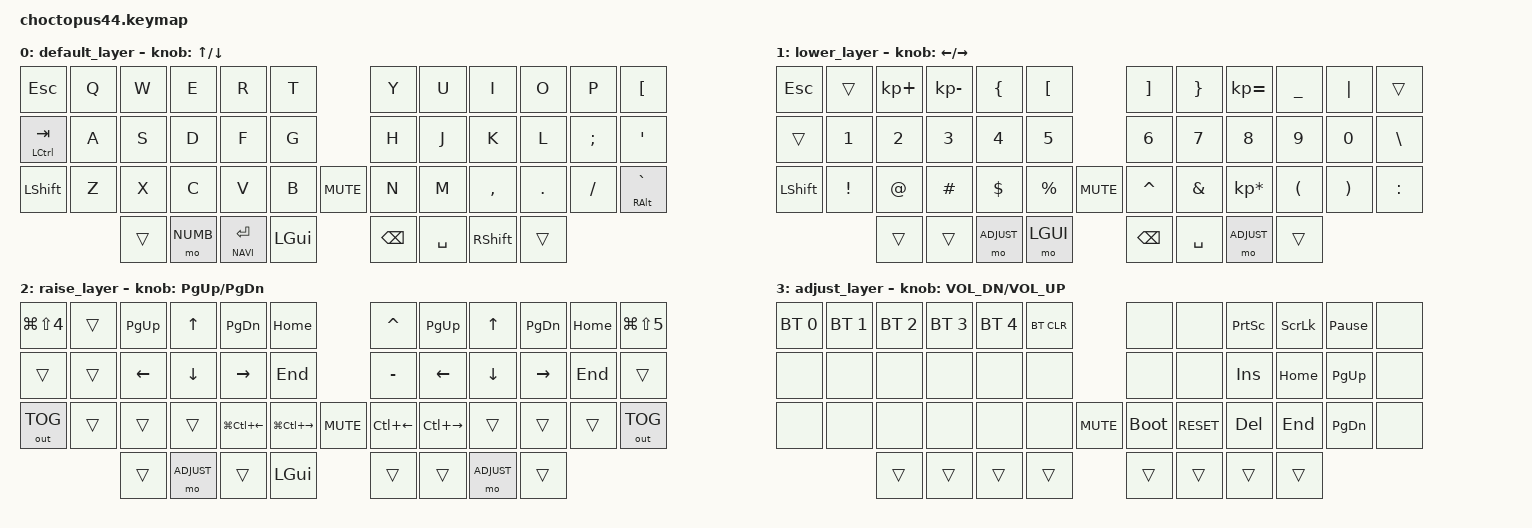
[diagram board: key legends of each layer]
/*
 * Copyright (c) 2021 The ZMK Contributors
 *
 * SPDX-License-Identifier: MIT
 */

#include <behaviors.dtsi>
#include <dt-bindings/zmk/keys.h>
#include <dt-bindings/zmk/bt.h>
#include <dt-bindings/zmk/ext_power.h>
#include <dt-bindings/zmk/outputs.h>


#define QWERTY 0
#define NUMB 1
#define NAVI 2
#define ADJUST 3

&lt { quick_tap_ms = <200>; };
&mt { 
    quick_tap_ms = <200>;
    tapping-term-ms = <400>;
};

/ {
  keymap {
    compatible = "zmk,keymap";


    default_layer {
      bindings = <
        &kp ESC       &kp Q     &kp W       &kp E     &kp R    &kp T                &kp Y     &kp U     &kp I      &kp O    &kp P     &kp LEFT_BRACKET
        &mt LCTRL TAB &kp A     &kp S       &kp D     &kp F    &kp G                &kp H     &kp J     &kp K      &kp L    &kp SEMI  &kp SQT
        &kp LSHFT     &kp Z     &kp X       &kp C     &kp V    &kp B   &kp C_MUTE   &kp N     &kp M     &kp COMMA  &kp DOT  &kp FSLH  &mt RALT GRAVE
                              &trans   &mo NUMB  &lt NAVI RET   &kp LGUI            &kp BSPC   &kp SPACE  &kp RSHFT   &trans
      >;
      sensor-bindings = <&inc_dec_kp UP DOWN>;
    };

    lower_layer {
      bindings = <
        &kp ESC       &trans    &kp KP_PLUS &kp KP_MINUS &kp LEFT_BRACE &kp LEFT_BRACKET      &kp RIGHT_BRACKET        &kp RIGHT_BRACE            &kp KP_EQUAL           &kp UNDERSCORE           &kp PIPE     &trans
        &trans        &kp N1    &kp N2      &kp N3       &kp N4         &kp N5                &kp N6                   &kp N7                     &kp N8                 &kp N9                   &kp N0     &kp BSLH
        &kp LSHFT     &kp EXCL  &kp AT      &kp HASH     &kp DLLR       &kp PRCNT  &kp C_MUTE &kp CARET  &kp AMPS      &kp KP_MULTIPLY        &kp LPAR                 &kp RPAR   &kp COLON
                                             &trans      &trans         &mo ADJUST            &mo LGUI                 &kp BSPC                   &kp SPACE              &mo ADJUST               &trans
      >;
      sensor-bindings = <&inc_dec_kp LEFT RIGHT>;
    };

    raise_layer {
      bindings = <
          &kp LG(LS(N4))  &trans     &kp PAGE_UP        &kp UP_ARROW      &kp PAGE_DOWN       &kp HOME                          &kp CARET            &kp PAGE_UP             &kp UP_ARROW       &kp PAGE_DOWN      &kp HOME     &kp LG(LS(N5))
          &trans          &trans     &kp LEFT_ARROW     &kp DOWN_ARROW    &kp RIGHT_ARROW     &kp END                           &kp MINUS            &kp LEFT_ARROW          &kp DOWN_ARROW     &kp RIGHT_ARROW    &kp END      &trans
          &out OUT_TOG    &trans     &trans             &trans       &kp LG(LC(LEFT_ARROW)) &kp LG(LC(RIGHT_ARROW)) &kp C_MUTE  &kp LC(LEFT_ARROW)   &kp LC(RIGHT_ARROW)     &trans             &trans             &trans       &out OUT_TOG
                                     &trans             &mo ADJUST         &trans            &kp LGUI                           &trans               &trans                  &mo ADJUST         &trans 
      >;
      sensor-bindings = <&inc_dec_kp PG_UP PG_DN>;
    };

    adjust_layer {
      bindings = <
        &bt BT_SEL 0  &bt BT_SEL 1    &bt BT_SEL 2    &bt BT_SEL 3    &bt BT_SEL 4    &bt BT_CLR                &none         &none         &kp PSCRN     &kp SLCK    &kp PAUSE_BREAK   &none
        &none         &none           &none           &none           &none           &none                     &none         &none         &kp INSERT    &kp HOME    &kp PG_UP         &none
        &none         &none           &none           &none           &none           &none       &kp C_MUTE    &bootloader   &kp C_RESET   &kp DEL       &kp END     &kp PG_DN         &none
                                      &trans          &trans          &trans          &trans                    &trans        &trans        &trans        &trans
      >;
      sensor-bindings = <&inc_dec_kp C_VOL_DN C_VOL_UP>;
    };

  };
};
